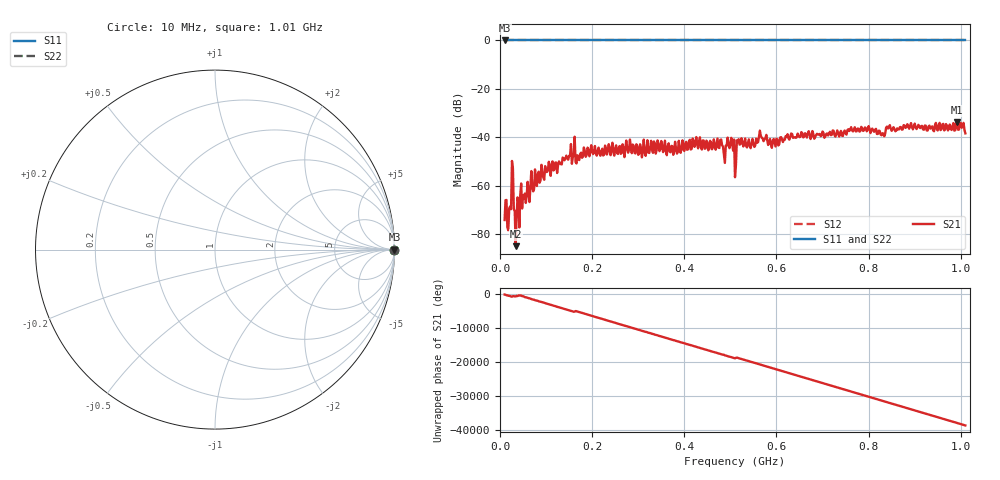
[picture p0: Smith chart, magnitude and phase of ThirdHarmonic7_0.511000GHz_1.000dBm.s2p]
! 8/17/2025 2:50:14 PM
! C:\ANRITSUVNA\TEMP\TEMP.S2P
! CHANNEL.1
! TR.MEASUREMENT
! RAW.DATA
! RF.CORRECTION.OFF
! AVERAGING.OFF
! IF.BANDWIDTH: 5KHZ
! SWEEPTYPE:  FREQ.SWEEP(Linear)
! Reference Plane Port Info
! PORT:  PORT1  PORT2
! DISTANCE:  0  m  0  m
! TIME:  0  s  0  s
! PHASE.OFFSET:  0  deg.  0  deg.
! LOSS:  0  dB  0  dB
! REF.LOSS:  0  dB  0  dB
! REF.FREQ:  0  Hz  0  Hz
! Power Info
! POWER:  -20  dBm  -20  dBm
! EFF.POWER:  -20  dBm  -20  dBm
! SOURCE.ATTEN:  0  dB  0  dB
! TEST.ATTEN:  0  dB  0  dB
# GHZ S RI R 50.0
! FREQ.GHZ  S11RE  S11IM  S21RE  S21IM  S12RE  S12IM  S22RE  S22IM
!; PortSelection: Port_12
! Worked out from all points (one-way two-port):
!   501 points, 10 MHz to 1.01 GHz, reference 50 ohm
!   highest |S21| = -33.85 dB at 992 MHz (marker M1); lowest = -85.0 dB at 34 MHz (marker M2)
!   lowest |S11| = 0.0 dB at 10 MHz (marker M3)
!   |S11| at or under -10 dB: nowhere
!   |S22| runs from 0.0 to 0.0 dB; largest |S21 - S12| = 1
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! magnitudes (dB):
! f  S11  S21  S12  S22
! 10 MHz  0.0  -74.2  0.0  0.0
! 20 MHz  0.0  -69.5  0.0  0.0
! 24 MHz  0.0  -69.8  0.0  0.0
! 28 MHz  0.0  -52.8  0.0  0.0
! 34 MHz  0.0  -85.0  0.0  0.0
! 80 MHz  0.0  -60.2  0.0  0.0
! 158 MHz  0.0  -48.3  0.0  0.0
! 168 MHz  0.0  -47.5  0.0  0.0
! 178 MHz  0.0  -48.5  0.0  0.0
! 344 MHz  0.0  -42.7  0.0  0.0
! 476 MHz  0.0  -44.5  0.0  0.0
! 488 MHz  0.0  -50.6  0.0  0.0
! 498 MHz  0.0  -44.5  0.0  0.0
! 510 MHz  0.0  -56.5  0.0  0.0
! 518 MHz  0.0  -40.8  0.0  0.0
! 566 MHz  0.0  -39.4  0.0  0.0
! 586 MHz  0.0  -40.7  0.0  0.0
! 678 MHz  0.0  -37.5  0.0  0.0
! 830 MHz  0.0  -38.3  0.0  0.0
! 844 MHz  0.0  -35.9  0.0  0.0
! 992 MHz  0.0  -33.9  0.0  0.0
! 1.01 GHz  0.0  -38.4  0.0  0.0
